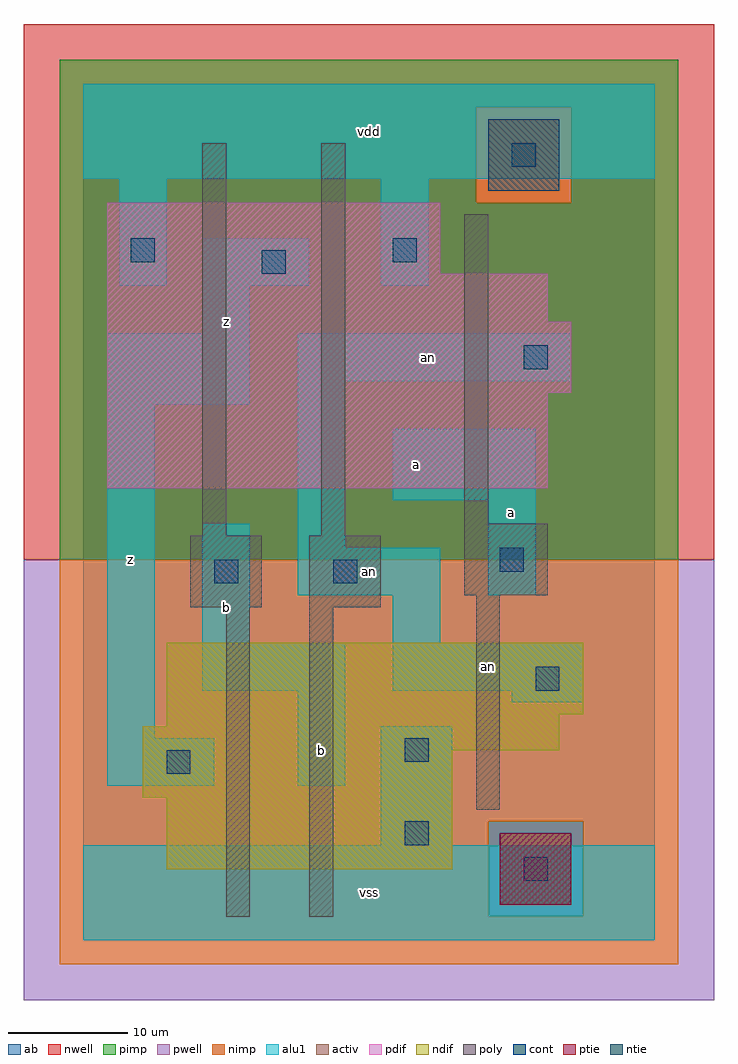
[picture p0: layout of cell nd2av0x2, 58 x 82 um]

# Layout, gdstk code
import gdstk
lib = gdstk.Library(unit=1e-6, precision=1e-09)
def R(c, l, rs):  # rectangles x0, y0, x1, y1
    for r in rs: c.add(gdstk.rectangle(r[:2], r[2:], *l))
ndif = (3, 0)
pdif = (4, 0)
ntie = (5, 0)
ptie = (6, 0)
cont = (25, 0)
pwell = (41, 0)
nwell = (42, 0)
activ = (43, 0)
pimp = (44, 0)
nimp = (45, 0)
poly = (46, 0)
alu1 = (49, 0)
ab = (63, 0)

nd2av0x2 = lib.new_cell('nd2av0x2')
R(nd2av0x2, ndif, [(7,6,31,12), (5,12,31,16), (5,16,40,18), (7,18,40,19), (7,19,42,25)])
R(nd2av0x2, pdif, [(2,38,39,46), (2,46,41,52), (2,52,39,56), (2,56,30,62)])
R(nd2av0x2, ntie, [(34,63,40,69)])
R(nd2av0x2, ptie, [(35,3,41,9)])
R(nd2av0x2, cont, [(37,5,39,7), (27,8,29,10), (7,14,9,16), (27,15,29,17), (38,21,40,23), (11,30,13,32), (21,30,23,32), (35,31,37,33), (37,48,39,50), (15,56,17,58), (4,57,6,59), (26,57,28,59), (36,65,38,67)])
R(nd2av0x2, pwell, [(-5,-5,53,32)])
R(nd2av0x2, nwell, [(-5,32,53,77)])
R(nd2av0x2, activ, [(35,3,41,9), (7,6,31,12), (5,12,31,16), (5,16,40,18), (7,18,40,19), (7,19,42,25), (2,38,39,46), (2,46,41,52), (2,52,39,56), (2,56,30,62), (34,63,40,69)])
R(nd2av0x2, pimp, [(34,2,42,10), (-2,32,50,62), (-2,62,33,70), (41,62,50,70), (-2,70,50,74)])
R(nd2av0x2, nimp, [(-2,-2,50,2), (-2,2,34,10), (42,2,50,10), (-2,10,50,32), (33,62,41,70)])
R(nd2av0x2, poly, [(12,2,14,28), (19,2,21,28), (33,11,35,29), (9,28,15,34), (19,28,25,34), (32,29,39,35), (10,34,12,67), (20,34,22,67), (32,35,34,61)])
R(nd2av0x2, alu1, [(0,0,48,8), (25,8,31,18), (2,13,11,17), (18,13,22,21), (2,17,6,45), (36,20,42,21), (10,21,22,25), (26,21,42,25), (10,25,14,35), (26,25,30,29), (18,29,30,33), (34,29,38,37), (18,33,22,47), (26,37,38,43), (2,45,14,51), (18,47,41,51), (10,51,14,55), (3,55,7,64), (10,55,19,59), (25,55,29,64), (0,64,48,72)])
R(nd2av0x2, ab, [(0,0,48,72)])
nd2av0x2.add(gdstk.Label('an', (34,23), layer=49, texttype=0))
nd2av0x2.add(gdstk.Label('an', (24,31), layer=49, texttype=0))
nd2av0x2.add(gdstk.Label('an', (29,49), layer=49, texttype=0))
nd2av0x2.add(gdstk.Label('z', (4,32), layer=49, texttype=0))
nd2av0x2.add(gdstk.Label('b', (20,16), layer=49, texttype=0))
nd2av0x2.add(gdstk.Label('b', (12,28), layer=49, texttype=0))
nd2av0x2.add(gdstk.Label('z', (12,52), layer=49, texttype=0))
nd2av0x2.add(gdstk.Label('vss', (24,4), layer=49, texttype=0))
nd2av0x2.add(gdstk.Label('a', (28,40), layer=49, texttype=0))
nd2av0x2.add(gdstk.Label('vdd', (24,68), layer=49, texttype=0))
nd2av0x2.add(gdstk.Label('a', (36,36), layer=49, texttype=0))

lib.write_gds('nd2av0x2.gds')
